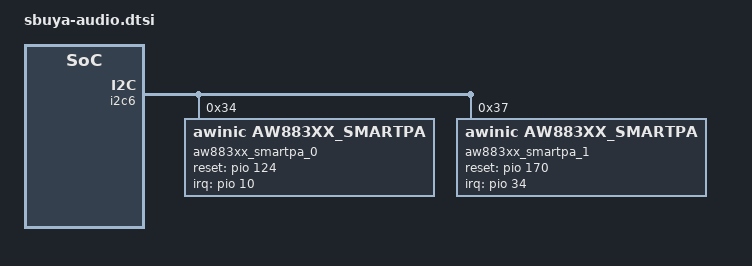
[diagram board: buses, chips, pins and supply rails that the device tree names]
/*
 * Copyright (c) 2019 MediaTek Inc.
 *
 * This program is free software; you can redistribute it and/or modify
 * it under the terms of the GNU General Public License version 2 as
 * published by the Free Software Foundation.
 *
 * This program is distributed in the hope that it will be useful,
 * but WITHOUT ANY WARRANTY; without even the implied warranty of
 * MERCHANTABILITY or FITNESS FOR A PARTICULAR PURPOSE.  See the
 * GNU General Public License for more details.
 */
&i2c6 {
	status = "okay";
	aw883xx_smartpa_0: aw883xx@34 {
		compatible = "awinic,aw883xx_smartpa";
		#sound-dai-cells = <0>;
		reg = <0x34>;
		reset-gpio = <&pio 124 0>;
		irq-gpio = <&pio 10 0>;
		sync-load = <1>;
		sound-channel = <1>;
		re-min = <1000>;
		re-max = <40000>;
		status = "okay";
 	};
  	aw883xx_smartpa_1: aw883xx_smartpa@37 {
		compatible = "awinic,aw883xx_smartpa";
		#sound-dai-cells = <0>;
		reg = <0x37>;
		reset-gpio = <&pio 170 0>;
		irq-gpio = <&pio 34 0>;
		sync-load = <1>;
		sound-channel = <0>;
		re-min = <1000>;
		re-max = <40000>;
		status = "okay";
	};
};

&spk{
	status = "disabled";
};

&sound {
	smartpa-hac-flag = <0>;
	mediatek,speaker-codec {
		sound-dai = <&aw883xx_smartpa_0 &aw883xx_smartpa_1>;
	};
};

&accdet {
	headset-mode-setting = <0x500 0x500 1 0x1f0
				0x800 0x800 0x20 0x44
				0x4 0x1
				0x5 0x3 0x3 0x5 0xa>;
};

&mt6377codec {
	engpios = <&pio 191 0>;
	ingpios = <&pio 192 0>;
};
